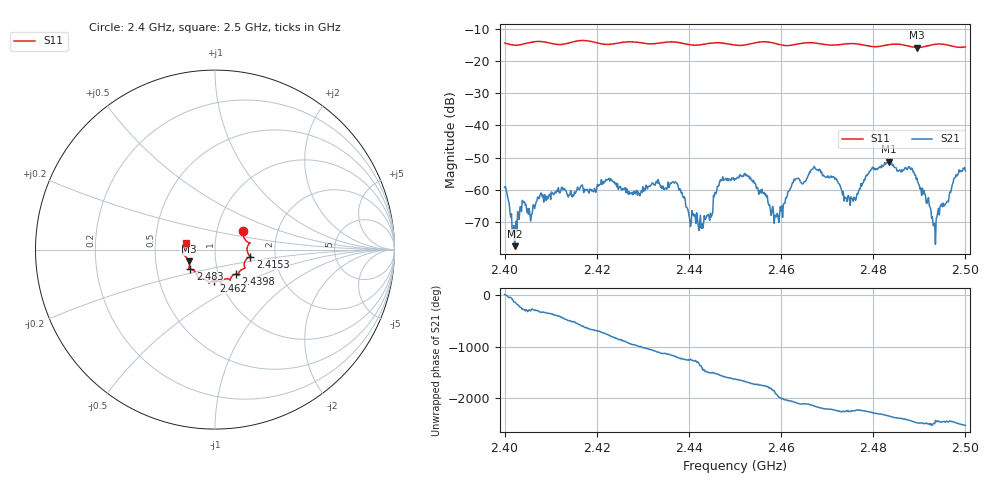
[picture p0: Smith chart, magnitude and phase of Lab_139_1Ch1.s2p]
# Hz S RI R 50
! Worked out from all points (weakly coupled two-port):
!   601 points, 2.4 GHz to 2.5 GHz, reference 50 ohm
!   highest |S21| = -51.25 dB at 2.4833 GHz (marker M1); lowest = -77.4 dB at 2.4022 GHz (marker M2)
!   lowest |S11| = -15.9 dB at 2.4895 GHz (marker M3), VSWR 1.38, Z = 36.9 - j5.01 ohm
!   |S11| at or under -10 dB: start of sweep to end of sweep
!   S12 and S22 are empty: the file has one direction only
!   S11 on the Smith chart (normalised r, x): 2.4 GHz: 1.33, +0.29; 2.4153 GHz: 1.48, -0.12; 2.4398 GHz: 1.21, -0.34; 2.462 GHz: 0.93, -0.33; 2.483 GHz: 0.74, -0.17; 2.5 GHz: 0.72, +0.06
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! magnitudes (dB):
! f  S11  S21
! 2.4 GHz  -14.5  -59.2
! 2.4022 GHz  -15.2  -77.4
! 2.4038 GHz  -14.9  -63.2
! 2.4153 GHz  -14.0  -61.1
! 2.4167 GHz  -13.7  -58.7
! 2.4333 GHz  -14.6  -56.7
! 2.4372 GHz  -14.2  -57.6
! 2.4398 GHz  -14.9  -66.5
! 2.4427 GHz  -15.0  -71.8
! 2.4447 GHz  -14.5  -67.2
! 2.4468 GHz  -14.4  -56.8
! 2.45 GHz  -15.1  -56.5
! 2.4535 GHz  -14.7  -56.8
! 2.459 GHz  -14.7  -68.3
! 2.462 GHz  -15.2  -59.5
! 2.4667 GHz  -14.4  -53.7
! 2.4753 GHz  -14.7  -62.6
! 2.483 GHz  -15.1  -51.5
! 2.4833 GHz  -15.0  -51.2
! 2.4895 GHz  -15.9  -56.4
! 2.4932 GHz  -14.9  -71.1
! 2.5 GHz  -15.7  -54.1
